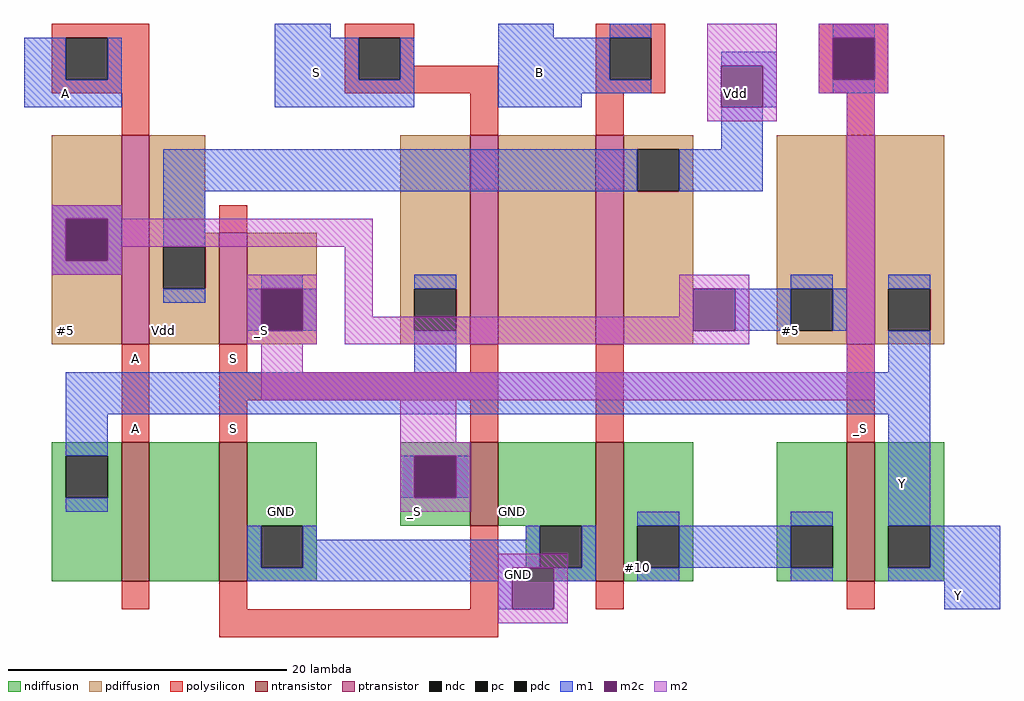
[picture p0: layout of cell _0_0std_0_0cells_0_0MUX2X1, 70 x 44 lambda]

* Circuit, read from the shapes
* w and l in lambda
.subckt _0_0std_0_0cells_0_0MUX2X1 Vdd Y A
M1 n1 A Y VSUBS nfet w=10 l=2
M2 GND S n1 VSUBS nfet w=10 l=2
M3 GND S _S VSUBS nfet w=6 l=2
M4 #10 B GND VSUBS nfet w=10 l=2
M5 Y _S #10 VSUBS nfet w=10 l=2
M6 Vdd A #5 NWELL pfet w=15 l=2
M7 _S S Vdd NWELL pfet w=8 l=2
M8 n2 S Y NWELL pfet w=15 l=2
M9 Vdd B n2 NWELL pfet w=15 l=2
M10 Y _S #5 NWELL pfet w=15 l=2
.ends

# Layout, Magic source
magic
tech sky130l
<< ndiffusion >>
rect 8 15 13 16
rect 8 12 9 15
rect 12 12 13 15
rect 8 6 13 12
rect 15 6 20 16
rect 22 10 27 16
rect 33 15 38 16
rect 33 12 34 15
rect 37 12 38 15
rect 33 10 38 12
rect 40 10 47 16
rect 22 7 23 10
rect 26 7 27 10
rect 22 6 27 7
rect 42 7 43 10
rect 46 7 47 10
rect 42 6 47 7
rect 49 10 54 16
rect 49 7 50 10
rect 53 7 54 10
rect 49 6 54 7
rect 60 10 65 16
rect 60 7 61 10
rect 64 7 65 10
rect 60 6 65 7
rect 67 10 72 16
rect 67 7 68 10
rect 71 7 72 10
rect 67 6 72 7
<< ndc >>
rect 9 12 12 15
rect 34 12 37 15
rect 23 7 26 10
rect 43 7 46 10
rect 50 7 53 10
rect 61 7 64 10
rect 68 7 71 10
<< ntransistor >>
rect 13 6 15 16
rect 20 6 22 16
rect 38 10 40 16
rect 47 6 49 16
rect 65 6 67 16
<< pdiffusion >>
rect 8 32 13 38
rect 8 29 9 32
rect 12 29 13 32
rect 8 23 13 29
rect 15 31 19 38
rect 15 30 20 31
rect 15 27 16 30
rect 19 27 20 30
rect 15 23 20 27
rect 22 27 27 31
rect 22 24 23 27
rect 26 24 27 27
rect 22 23 27 24
rect 33 27 38 38
rect 33 24 34 27
rect 37 24 38 27
rect 33 23 38 24
rect 40 23 47 38
rect 49 37 54 38
rect 49 34 50 37
rect 53 34 54 37
rect 49 23 54 34
rect 60 27 65 38
rect 60 24 61 27
rect 64 24 65 27
rect 60 23 65 24
rect 67 27 72 38
rect 67 24 68 27
rect 71 24 72 27
rect 67 23 72 24
<< pdc >>
rect 9 29 12 32
rect 16 27 19 30
rect 23 24 26 27
rect 34 24 37 27
rect 50 34 53 37
rect 61 24 64 27
rect 68 24 71 27
<< ptransistor >>
rect 13 23 15 38
rect 20 23 22 31
rect 38 23 40 38
rect 47 23 49 38
rect 65 23 67 38
<< polysilicon >>
rect 8 45 15 46
rect 8 42 9 45
rect 12 42 15 45
rect 8 41 15 42
rect 29 45 34 46
rect 29 42 30 45
rect 33 43 34 45
rect 47 45 52 46
rect 33 42 40 43
rect 29 41 40 42
rect 13 38 15 41
rect 38 38 40 41
rect 47 42 48 45
rect 51 42 52 45
rect 47 41 52 42
rect 63 45 68 46
rect 63 42 64 45
rect 67 42 68 45
rect 63 41 68 42
rect 47 38 49 41
rect 65 38 67 41
rect 20 31 22 33
rect 13 16 15 23
rect 20 21 22 23
rect 38 21 40 23
rect 20 19 40 21
rect 20 16 22 19
rect 38 16 40 19
rect 47 16 49 23
rect 65 16 67 23
rect 13 4 15 6
rect 20 4 22 6
rect 38 4 40 10
rect 47 4 49 6
rect 65 4 67 6
rect 20 2 40 4
<< pc >>
rect 9 42 12 45
rect 30 42 33 45
rect 48 42 51 45
rect 64 42 67 45
<< m1 >>
rect 24 45 28 46
rect 40 45 44 46
rect 48 45 51 46
rect 6 42 9 45
rect 12 42 13 45
rect 6 40 13 42
rect 24 42 30 45
rect 33 42 34 45
rect 24 40 34 42
rect 40 42 48 45
rect 64 45 67 46
rect 40 41 51 42
rect 56 43 60 44
rect 40 40 46 41
rect 59 40 60 43
rect 64 41 67 42
rect 56 37 59 40
rect 16 34 50 37
rect 53 34 59 37
rect 8 32 13 33
rect 8 29 9 32
rect 12 29 13 32
rect 8 28 13 29
rect 16 30 19 34
rect 23 27 26 28
rect 34 27 37 28
rect 61 27 64 28
rect 68 27 71 28
rect 16 26 19 27
rect 22 24 23 27
rect 26 24 27 27
rect 57 24 61 27
rect 64 24 65 27
rect 34 21 37 24
rect 68 21 71 24
rect 9 18 71 21
rect 9 15 12 18
rect 33 12 34 15
rect 37 12 38 15
rect 9 11 12 12
rect 50 10 53 11
rect 61 10 64 11
rect 22 7 23 10
rect 26 9 27 10
rect 42 9 43 10
rect 26 7 43 9
rect 46 7 47 10
rect 22 6 41 7
rect 40 4 41 6
rect 44 6 47 7
rect 53 7 61 10
rect 50 6 53 7
rect 61 6 64 7
rect 68 10 71 18
rect 71 7 76 10
rect 68 6 76 7
rect 72 4 76 6
<< m2c >>
rect 56 40 59 43
rect 64 42 67 45
rect 9 29 12 32
rect 23 24 26 27
rect 54 24 57 27
rect 34 12 37 15
rect 41 4 44 7
<< m2 >>
rect 55 43 60 46
rect 55 40 56 43
rect 59 40 60 43
rect 63 45 68 46
rect 63 42 64 45
rect 67 42 68 45
rect 63 41 68 42
rect 55 39 60 40
rect 8 32 13 33
rect 8 29 9 32
rect 12 30 31 32
rect 12 29 13 30
rect 8 28 13 29
rect 22 27 27 28
rect 22 24 23 27
rect 26 24 27 27
rect 22 23 27 24
rect 29 25 31 30
rect 53 27 58 28
rect 53 25 54 27
rect 29 24 54 25
rect 57 24 58 27
rect 29 23 58 24
rect 23 21 26 23
rect 65 21 67 41
rect 23 19 67 21
rect 33 16 37 19
rect 33 15 38 16
rect 33 12 34 15
rect 37 12 38 15
rect 33 11 38 12
rect 40 7 45 8
rect 40 4 41 7
rect 44 4 45 7
rect 40 3 45 4
<< labels >>
rlabel pdiffusion 23 24 23 24 3 _S
rlabel pdiffusion 16 24 16 24 3 Vdd
rlabel polysilicon 14 17 14 17 3 A
rlabel polysilicon 14 22 14 22 3 A
rlabel pdiffusion 9 24 9 24 3 #5
rlabel ndiffusion 50 7 50 7 3 #10
rlabel ndiffusion 41 11 41 11 3 GND
rlabel ndiffusion 34 11 34 11 3 _S
rlabel polysilicon 66 17 66 17 3 _S
rlabel pdiffusion 61 24 61 24 3 #5
rlabel m2c 57 41 57 41 3 Vdd
port 2 e
rlabel m1 9 41 9 41 3 A
port 6 e
rlabel ndiffusion 22 6 27 16 1 GND
rlabel m1 69 13 69 13 1 Y
rlabel m1 73 5 73 5 3 Y
port 5 e
rlabel m1 40 4 43 9 1 GND
rlabel polysilicon 21 22 21 22 3 S
rlabel polysilicon 21 17 21 17 3 S
rlabel m1 24 40 30 45 5 S
rlabel m1 40 40 46 45 5 B
<< end >>
